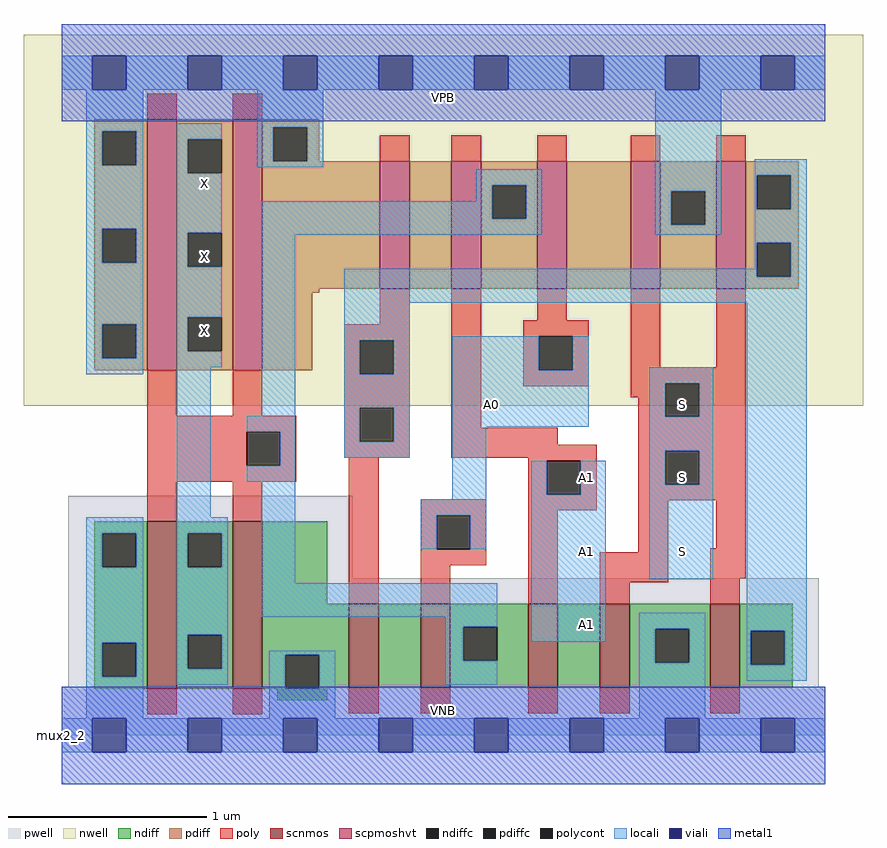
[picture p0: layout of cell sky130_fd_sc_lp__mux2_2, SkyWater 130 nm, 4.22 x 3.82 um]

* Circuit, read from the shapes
.subckt sky130_fd_sc_lp__mux2_2 A0 A1 S VGND VNB VPB VPWR X
XM1 X n1 VGND VNB sky130_fd_pr__nfet_01v8 w=0.84 l=0.15 m=2
XM2 n2 n3 VGND VNB sky130_fd_pr__nfet_01v8 w=0.42 l=0.15
XM3 n1 A0 n2 VNB sky130_fd_pr__nfet_01v8 w=0.42 l=0.15
XM4 n4 A1 n1 VNB sky130_fd_pr__nfet_01v8 w=0.42 l=0.15
XM5 VGND S n4 VNB sky130_fd_pr__nfet_01v8 w=0.42 l=0.15
XM6 n3 S VGND VNB sky130_fd_pr__nfet_01v8 w=0.42 l=0.15
XM7 X n1 VPWR VPB sky130_fd_pr__pfet_01v8_hvt w=1.26 l=0.15 m=2
XM8 n5 n3 VPWR VPB sky130_fd_pr__pfet_01v8_hvt w=0.64 l=0.15
XM9 n1 A1 n5 VPB sky130_fd_pr__pfet_01v8_hvt w=0.64 l=0.15
XM10 n6 A0 n1 VPB sky130_fd_pr__pfet_01v8_hvt w=0.64 l=0.15
XM11 VPWR S n6 VPB sky130_fd_pr__pfet_01v8_hvt w=0.64 l=0.15
XM12 n3 S VPWR VPB sky130_fd_pr__pfet_01v8_hvt w=0.64 l=0.15
.ends

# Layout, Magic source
magic
tech sky130A
magscale 1 2
<< nwell >>
rect -38 331 806 704
<< pwell >>
rect 7 158 293 241
rect 7 49 761 158
rect 0 0 768 49
<< scnmos >>
rect 86 47 116 215
rect 172 47 202 215
rect 289 48 319 132
rect 361 48 391 132
rect 469 48 499 132
rect 541 48 571 132
rect 652 48 682 132
<< scpmoshvt >>
rect 86 367 116 619
rect 172 367 202 619
rect 320 449 350 577
rect 392 449 422 577
rect 478 449 508 577
rect 572 449 602 577
rect 658 449 688 577
<< ndiff >>
rect 33 203 86 215
rect 33 169 41 203
rect 75 169 86 203
rect 33 93 86 169
rect 33 59 41 93
rect 75 59 86 93
rect 33 47 86 59
rect 116 203 172 215
rect 116 169 127 203
rect 161 169 172 203
rect 116 101 172 169
rect 116 67 127 101
rect 161 67 172 101
rect 116 47 172 67
rect 202 132 267 215
rect 202 81 289 132
rect 202 47 225 81
rect 259 48 289 81
rect 319 48 361 132
rect 391 109 469 132
rect 391 75 404 109
rect 438 75 469 109
rect 391 48 469 75
rect 499 48 541 132
rect 571 107 652 132
rect 571 73 597 107
rect 631 73 652 107
rect 571 48 652 73
rect 682 105 735 132
rect 682 71 693 105
rect 727 71 735 105
rect 682 48 735 71
rect 259 47 267 48
rect 217 35 267 47
<< pdiff >>
rect 33 607 86 619
rect 33 573 41 607
rect 75 573 86 607
rect 33 509 86 573
rect 33 475 41 509
rect 75 475 86 509
rect 33 413 86 475
rect 33 379 41 413
rect 75 379 86 413
rect 33 367 86 379
rect 116 599 172 619
rect 116 565 127 599
rect 161 565 172 599
rect 116 505 172 565
rect 116 471 127 505
rect 161 471 172 505
rect 116 420 172 471
rect 116 386 127 420
rect 161 386 172 420
rect 116 367 172 386
rect 202 611 259 619
rect 202 577 213 611
rect 247 577 259 611
rect 202 449 320 577
rect 350 449 392 577
rect 422 553 478 577
rect 422 519 433 553
rect 467 519 478 553
rect 422 449 478 519
rect 508 449 572 577
rect 602 547 658 577
rect 602 513 613 547
rect 647 513 658 547
rect 602 449 658 513
rect 688 563 741 577
rect 688 529 699 563
rect 733 529 741 563
rect 688 495 741 529
rect 688 461 699 495
rect 733 461 741 495
rect 688 449 741 461
rect 202 445 259 449
rect 202 367 252 445
<< ndiffc >>
rect 41 169 75 203
rect 41 59 75 93
rect 127 169 161 203
rect 127 67 161 101
rect 225 47 259 81
rect 404 75 438 109
rect 597 73 631 107
rect 693 71 727 105
<< pdiffc >>
rect 41 573 75 607
rect 41 475 75 509
rect 41 379 75 413
rect 127 565 161 599
rect 127 471 161 505
rect 127 386 161 420
rect 213 577 247 611
rect 433 519 467 553
rect 613 513 647 547
rect 699 529 733 563
rect 699 461 733 495
<< poly >>
rect 86 619 116 645
rect 172 619 202 645
rect 320 577 350 603
rect 392 577 422 603
rect 478 577 508 603
rect 572 577 602 603
rect 658 577 688 603
rect 320 413 350 449
rect 284 397 350 413
rect 86 321 116 367
rect 172 321 202 367
rect 284 363 300 397
rect 334 363 350 397
rect 284 329 350 363
rect 86 305 236 321
rect 86 271 186 305
rect 220 271 236 305
rect 284 295 300 329
rect 334 295 350 329
rect 284 279 350 295
rect 392 309 422 449
rect 478 417 508 449
rect 464 401 530 417
rect 464 367 480 401
rect 514 367 530 401
rect 464 351 530 367
rect 572 370 602 449
rect 658 370 688 449
rect 572 354 688 370
rect 572 340 607 354
rect 580 320 607 340
rect 641 320 688 354
rect 392 292 499 309
rect 392 279 538 292
rect 86 255 236 271
rect 86 215 116 255
rect 172 215 202 255
rect 289 132 319 279
rect 469 276 538 279
rect 469 242 488 276
rect 522 242 538 276
rect 361 221 427 237
rect 361 187 377 221
rect 411 187 427 221
rect 361 171 427 187
rect 469 226 538 242
rect 580 286 688 320
rect 580 252 607 286
rect 641 252 688 286
rect 580 236 688 252
rect 361 132 391 171
rect 469 132 499 226
rect 580 184 610 236
rect 658 188 688 236
rect 541 154 610 184
rect 652 158 688 188
rect 541 132 571 154
rect 652 132 682 158
rect 86 21 116 47
rect 172 21 202 47
rect 289 22 319 48
rect 361 22 391 48
rect 469 22 499 48
rect 541 22 571 48
rect 652 22 682 48
<< polycont >>
rect 300 363 334 397
rect 186 271 220 305
rect 300 295 334 329
rect 480 367 514 401
rect 607 320 641 354
rect 488 242 522 276
rect 377 187 411 221
rect 607 252 641 286
<< locali >>
rect 0 649 31 683
rect 65 649 127 683
rect 161 649 223 683
rect 257 649 319 683
rect 353 649 415 683
rect 449 649 511 683
rect 545 649 607 683
rect 641 649 703 683
rect 737 649 768 683
rect 25 607 82 649
rect 25 573 41 607
rect 75 573 82 607
rect 25 509 82 573
rect 25 475 41 509
rect 75 475 82 509
rect 25 413 82 475
rect 25 379 41 413
rect 75 379 82 413
rect 25 363 82 379
rect 116 599 161 615
rect 116 565 127 599
rect 197 611 263 649
rect 197 577 213 611
rect 247 577 263 611
rect 197 571 263 577
rect 116 505 161 565
rect 417 553 483 569
rect 417 537 433 553
rect 116 471 127 505
rect 116 420 161 471
rect 116 386 127 420
rect 116 370 161 386
rect 201 519 433 537
rect 467 519 483 553
rect 201 503 483 519
rect 597 547 663 649
rect 597 513 613 547
rect 647 513 663 547
rect 597 503 663 513
rect 697 563 749 579
rect 697 529 699 563
rect 733 529 749 563
rect 116 219 150 370
rect 201 321 235 503
rect 697 495 749 529
rect 697 469 699 495
rect 186 305 235 321
rect 220 271 235 305
rect 284 461 699 469
rect 733 461 749 495
rect 284 435 749 461
rect 284 397 350 435
rect 284 363 300 397
rect 334 363 350 397
rect 284 329 350 363
rect 284 295 300 329
rect 334 295 350 329
rect 284 279 350 295
rect 393 367 480 401
rect 514 367 530 401
rect 393 310 530 367
rect 591 354 655 370
rect 591 320 607 354
rect 641 320 655 354
rect 186 255 235 271
rect 25 203 82 219
rect 25 169 41 203
rect 75 169 82 203
rect 25 93 82 169
rect 25 59 41 93
rect 75 59 82 93
rect 25 17 82 59
rect 116 203 167 219
rect 116 169 127 203
rect 161 169 167 203
rect 116 101 167 169
rect 201 153 235 255
rect 393 237 427 310
rect 591 286 655 320
rect 361 221 427 237
rect 361 187 377 221
rect 411 187 427 221
rect 472 242 488 276
rect 522 242 547 276
rect 201 119 438 153
rect 116 67 127 101
rect 161 67 167 101
rect 386 109 438 119
rect 116 51 167 67
rect 209 81 275 85
rect 209 47 225 81
rect 259 47 275 81
rect 386 75 404 109
rect 472 94 547 242
rect 591 252 607 286
rect 641 252 655 286
rect 591 157 655 252
rect 581 107 647 123
rect 386 51 438 75
rect 581 73 597 107
rect 631 73 647 107
rect 209 17 275 47
rect 581 17 647 73
rect 689 105 749 435
rect 689 71 693 105
rect 727 71 749 105
rect 689 55 749 71
rect 0 -17 31 17
rect 65 -17 127 17
rect 161 -17 223 17
rect 257 -17 319 17
rect 353 -17 415 17
rect 449 -17 511 17
rect 545 -17 607 17
rect 641 -17 703 17
rect 737 -17 768 17
<< viali >>
rect 31 649 65 683
rect 127 649 161 683
rect 223 649 257 683
rect 319 649 353 683
rect 415 649 449 683
rect 511 649 545 683
rect 607 649 641 683
rect 703 649 737 683
rect 31 -17 65 17
rect 127 -17 161 17
rect 223 -17 257 17
rect 319 -17 353 17
rect 415 -17 449 17
rect 511 -17 545 17
rect 607 -17 641 17
rect 703 -17 737 17
<< metal1 >>
rect 0 683 768 715
rect 0 649 31 683
rect 65 649 127 683
rect 161 649 223 683
rect 257 649 319 683
rect 353 649 415 683
rect 449 649 511 683
rect 545 649 607 683
rect 641 649 703 683
rect 737 649 768 683
rect 0 617 768 649
rect 0 17 768 49
rect 0 -17 31 17
rect 65 -17 127 17
rect 161 -17 223 17
rect 257 -17 319 17
rect 353 -17 415 17
rect 449 -17 511 17
rect 545 -17 607 17
rect 641 -17 703 17
rect 737 -17 768 17
rect 0 -49 768 -17
<< labels >>
flabel pwell s 0 0 768 49 0 FreeSans 200 0 0 0 VNB
port 5 nsew ground bidirectional
flabel nwell s 0 617 768 666 0 FreeSans 200 0 0 0 VPB
port 6 nsew power bidirectional
rlabel comment s 0 0 0 0 4 mux2_2
flabel metal1 s 0 617 768 666 0 FreeSans 340 0 0 0 VPWR
port 7 nsew power bidirectional
flabel metal1 s 0 0 768 49 0 FreeSans 340 0 0 0 VGND
port 4 nsew ground bidirectional
flabel locali s 127 390 161 424 0 FreeSans 340 0 0 0 X
port 8 nsew signal output
flabel locali s 127 464 161 498 0 FreeSans 340 0 0 0 X
port 8 nsew signal output
flabel locali s 127 538 161 572 0 FreeSans 340 0 0 0 X
port 8 nsew signal output
flabel locali s 607 168 641 202 0 FreeSans 340 0 0 0 S
port 3 nsew signal input
flabel locali s 607 242 641 276 0 FreeSans 340 0 0 0 S
port 3 nsew signal input
flabel locali s 607 316 641 350 0 FreeSans 340 0 0 0 S
port 3 nsew signal input
flabel locali s 415 316 449 350 0 FreeSans 340 0 0 0 A0
port 1 nsew signal input
flabel locali s 511 94 545 128 0 FreeSans 340 0 0 0 A1
port 2 nsew signal input
flabel locali s 511 168 545 202 0 FreeSans 340 0 0 0 A1
port 2 nsew signal input
flabel locali s 511 242 545 276 0 FreeSans 340 0 0 0 A1
port 2 nsew signal input
<< properties >>
string LEFsite unit
string LEFclass CORE
string FIXED_BBOX 0 0 768 666
string GDS_FILE $PDKPATH/libs.ref/sky130_fd_sc_lp/gds/sky130_fd_sc_lp.gds
string LEFsymmetry X Y R90
string GDS_END 1670976
string GDS_START 1663624
<< end >>
